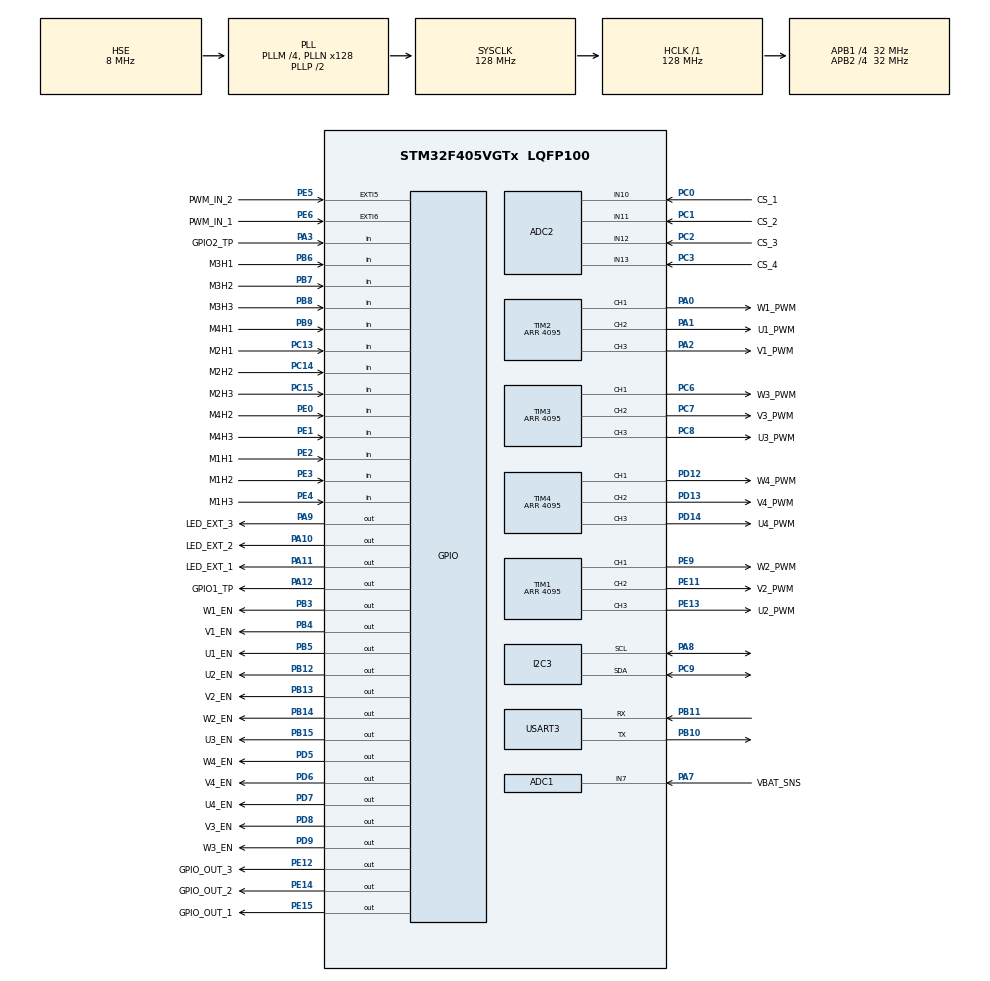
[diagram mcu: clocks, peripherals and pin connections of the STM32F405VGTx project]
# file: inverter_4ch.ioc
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ADC1.Channel-5\#ChannelRegularConversion=ADC_CHANNEL_7
ADC1.Channel-6\#ChannelRegularConversion=ADC_CHANNEL_TEMPSENSOR
ADC1.ClockPrescaler=ADC_CLOCK_SYNC_PCLK_DIV4
ADC1.ContinuousConvMode=ENABLE
ADC1.DMAContinuousRequests=ENABLE
ADC1.EOCSelection=ADC_EOC_SEQ_CONV
ADC1.NbrOfConversion=2
ADC1.NbrOfConversionFlag=1
ADC1.Rank-5\#ChannelRegularConversion=1
ADC1.Rank-6\#ChannelRegularConversion=2
ADC1.SamplingTime-5\#ChannelRegularConversion=ADC_SAMPLETIME_480CYCLES
ADC1.SamplingTime-6\#ChannelRegularConversion=ADC_SAMPLETIME_480CYCLES
ADC1.master=1
ADC2.Channel-0\#ChannelRegularConversion=ADC_CHANNEL_10
ADC2.Channel-1\#ChannelRegularConversion=ADC_CHANNEL_11
ADC2.Channel-2\#ChannelRegularConversion=ADC_CHANNEL_12
ADC2.Channel-3\#ChannelRegularConversion=ADC_CHANNEL_13
ADC2.ClockPrescaler=ADC_CLOCK_SYNC_PCLK_DIV4
ADC2.ContinuousConvMode=ENABLE
ADC2.DMAContinuousRequests=ENABLE
ADC2.EOCSelection=ADC_EOC_SEQ_CONV
ADC2.NbrOfConversion=4
ADC2.NbrOfConversionFlag=1
ADC2.Rank-0\#ChannelRegularConversion=1
ADC2.Rank-1\#ChannelRegularConversion=2
ADC2.Rank-2\#ChannelRegularConversion=3
ADC2.Rank-3\#ChannelRegularConversion=4
ADC2.SamplingTime-0\#ChannelRegularConversion=ADC_SAMPLETIME_144CYCLES
ADC2.SamplingTime-1\#ChannelRegularConversion=ADC_SAMPLETIME_144CYCLES
ADC2.SamplingTime-2\#ChannelRegularConversion=ADC_SAMPLETIME_144CYCLES
ADC2.SamplingTime-3\#ChannelRegularConversion=ADC_SAMPLETIME_144CYCLES
Dma.ADC1.0.Direction=DMA_PERIPH_TO_MEMORY
Dma.ADC1.0.FIFOMode=DMA_FIFOMODE_DISABLE
Dma.ADC1.0.Instance=DMA2_Stream0
Dma.ADC1.0.MemDataAlignment=DMA_MDATAALIGN_WORD
Dma.ADC1.0.MemInc=DMA_MINC_ENABLE
Dma.ADC1.0.Mode=DMA_CIRCULAR
Dma.ADC1.0.PeriphDataAlignment=DMA_PDATAALIGN_WORD
Dma.ADC1.0.PeriphInc=DMA_PINC_DISABLE
Dma.ADC1.0.Priority=DMA_PRIORITY_LOW
Dma.ADC2.3.Direction=DMA_PERIPH_TO_MEMORY
Dma.ADC2.3.FIFOMode=DMA_FIFOMODE_DISABLE
Dma.ADC2.3.Instance=DMA2_Stream2
Dma.ADC2.3.MemDataAlignment=DMA_MDATAALIGN_WORD
Dma.ADC2.3.MemInc=DMA_MINC_ENABLE
Dma.ADC2.3.Mode=DMA_CIRCULAR
Dma.ADC2.3.PeriphDataAlignment=DMA_PDATAALIGN_WORD
Dma.ADC2.3.PeriphInc=DMA_PINC_DISABLE
Dma.ADC2.3.Priority=DMA_PRIORITY_VERY_HIGH
Dma.Request0=ADC1
Dma.Request1=USART3_RX
Dma.Request2=USART3_TX
Dma.Request3=ADC2
Dma.USART3_RX.1.Direction=DMA_PERIPH_TO_MEMORY
Dma.USART3_RX.1.FIFOMode=DMA_FIFOMODE_DISABLE
Dma.USART3_RX.1.Instance=DMA1_Stream1
Dma.USART3_RX.1.MemDataAlignment=DMA_MDATAALIGN_BYTE
Dma.USART3_RX.1.MemInc=DMA_MINC_ENABLE
Dma.USART3_RX.1.Mode=DMA_NORMAL
Dma.USART3_RX.1.PeriphDataAlignment=DMA_PDATAALIGN_BYTE
Dma.USART3_RX.1.PeriphInc=DMA_PINC_DISABLE
Dma.USART3_RX.1.Priority=DMA_PRIORITY_LOW
Dma.USART3_TX.2.Direction=DMA_MEMORY_TO_PERIPH
Dma.USART3_TX.2.FIFOMode=DMA_FIFOMODE_DISABLE
Dma.USART3_TX.2.Instance=DMA1_Stream3
Dma.USART3_TX.2.MemDataAlignment=DMA_MDATAALIGN_BYTE
Dma.USART3_TX.2.MemInc=DMA_MINC_ENABLE
Dma.USART3_TX.2.Mode=DMA_NORMAL
Dma.USART3_TX.2.PeriphDataAlignment=DMA_PDATAALIGN_BYTE
Dma.USART3_TX.2.PeriphInc=DMA_PINC_DISABLE
Dma.USART3_TX.2.Priority=DMA_PRIORITY_LOW
Mcu.Family=STM32F4
Mcu.Name=STM32F405VGTx
Mcu.Package=LQFP100
NVIC.DMA1_Stream1_IRQn=true\:2\:0\:true\:false\:true\:false\:true
NVIC.DMA1_Stream3_IRQn=true\:2\:0\:true\:false\:true\:false\:true
NVIC.DMA2_Stream0_IRQn=true\:2\:0\:true\:false\:true\:false\:true
NVIC.DMA2_Stream2_IRQn=true\:0\:0\:false\:false\:true\:false\:true
NVIC.EXTI9_5_IRQn=true\:1\:0\:true\:false\:true\:true\:true
NVIC.PriorityGroup=NVIC_PRIORITYGROUP_4
NVIC.TIM8_TRG_COM_TIM14_IRQn=true\:2\:0\:true\:false\:true\:true\:true
NVIC.TIM8_UP_TIM13_IRQn=true\:2\:0\:true\:false\:true\:true\:true
NVIC.USART3_IRQn=true\:2\:0\:true\:false\:true\:true\:true
PA0-WKUP.GPIO_Label=W1_PWM
PA0-WKUP.Signal=S_TIM2_CH1_ETR
PA1.GPIO_Label=U1_PWM
PA1.Signal=S_TIM2_CH2
PA10.GPIO_Label=LED_EXT_2
PA10.Signal=GPIO_Output
PA11.GPIO_Label=LED_EXT_1
PA11.Signal=GPIO_Output
PA12.GPIO_Label=GPIO1_TP
PA12.GPIO_Speed=GPIO_SPEED_FREQ_VERY_HIGH
PA12.Signal=GPIO_Output
PA13.Mode=Serial_Wire
PA13.Signal=SYS_JTMS-SWDIO
PA14.Mode=Serial_Wire
PA14.Signal=SYS_JTCK-SWCLK
PA2.GPIO_Label=V1_PWM
PA2.Signal=S_TIM2_CH3
PA3.GPIO_Label=GPIO2_TP
PA3.Signal=GPIO_Input
PA7.GPIO_Label=VBAT_SNS
PA7.Signal=ADCx_IN7
PA8.Mode=I2C
PA8.Signal=I2C3_SCL
PA9.GPIO_Label=LED_EXT_3
PA9.Signal=GPIO_Output
PB10.Mode=Asynchronous
PB10.Signal=USART3_TX
PB11.Mode=Asynchronous
PB11.Signal=USART3_RX
PB12.GPIO_Label=U2_EN
PB12.GPIO_Speed=GPIO_SPEED_FREQ_VERY_HIGH
PB12.Signal=GPIO_Output
PB13.GPIO_Label=V2_EN
PB13.GPIO_Speed=GPIO_SPEED_FREQ_VERY_HIGH
PB13.Signal=GPIO_Output
PB14.GPIO_Label=W2_EN
PB14.GPIO_Speed=GPIO_SPEED_FREQ_VERY_HIGH
PB14.Signal=GPIO_Output
PB15.GPIO_Label=U3_EN
PB15.GPIO_Speed=GPIO_SPEED_FREQ_VERY_HIGH
PB15.Signal=GPIO_Output
PB3.GPIO_Label=W1_EN
PB3.GPIO_Speed=GPIO_SPEED_FREQ_VERY_HIGH
PB3.Signal=GPIO_Output
PB4.GPIO_Label=V1_EN
PB4.GPIO_Speed=GPIO_SPEED_FREQ_VERY_HIGH
PB4.Signal=GPIO_Output
PB5.GPIO_Label=U1_EN
PB5.GPIO_Speed=GPIO_SPEED_FREQ_VERY_HIGH
PB5.Signal=GPIO_Output
PB6.GPIO_Label=M3H1
PB6.GPIO_PuPd=GPIO_PULLUP
PB6.Signal=GPIO_Input
PB7.GPIO_Label=M3H2
PB7.GPIO_PuPd=GPIO_PULLUP
PB7.Signal=GPIO_Input
PB8.GPIO_Label=M3H3
PB8.GPIO_PuPd=GPIO_PULLUP
PB8.Signal=GPIO_Input
PB9.GPIO_Label=M4H1
PB9.GPIO_PuPd=GPIO_PULLUP
PB9.Signal=GPIO_Input
PC0.GPIO_Label=CS_1
PC0.Signal=ADCx_IN10
PC1.GPIO_Label=CS_2
PC1.Signal=ADCx_IN11
PC13-ANTI_TAMP.GPIO_Label=M2H1
PC13-ANTI_TAMP.GPIO_PuPd=GPIO_PULLUP
PC13-ANTI_TAMP.Signal=GPIO_Input
PC14-OSC32_IN.GPIO_Label=M2H2
PC14-OSC32_IN.GPIO_PuPd=GPIO_PULLUP
PC14-OSC32_IN.Signal=GPIO_Input
PC15-OSC32_OUT.GPIO_Label=M2H3
PC15-OSC32_OUT.GPIO_PuPd=GPIO_PULLUP
PC15-OSC32_OUT.Signal=GPIO_Input
PC2.GPIO_Label=CS_3
PC2.Signal=ADCx_IN12
PC3.GPIO_Label=CS_4
PC3.Signal=ADCx_IN13
PC6.GPIO_Label=W3_PWM
PC6.Signal=S_TIM3_CH1
PC7.GPIO_Label=V3_PWM
PC7.Signal=S_TIM3_CH2
PC8.GPIO_Label=U3_PWM
PC8.Signal=S_TIM3_CH3
PC9.Mode=I2C
PC9.Signal=I2C3_SDA
PD12.GPIO_Label=W4_PWM
PD12.Signal=S_TIM4_CH1
PD13.GPIO_Label=V4_PWM
PD13.Signal=S_TIM4_CH2
PD14.GPIO_Label=U4_PWM
PD14.Signal=S_TIM4_CH3
PD5.GPIO_Label=W4_EN
PD5.GPIO_Speed=GPIO_SPEED_FREQ_VERY_HIGH
PD5.Signal=GPIO_Output
PD6.GPIO_Label=V4_EN
PD6.GPIO_Speed=GPIO_SPEED_FREQ_VERY_HIGH
PD6.Signal=GPIO_Output
PD7.GPIO_Label=U4_EN
PD7.GPIO_Speed=GPIO_SPEED_FREQ_VERY_HIGH
PD7.Signal=GPIO_Output
PD8.GPIO_Label=V3_EN
PD8.GPIO_Speed=GPIO_SPEED_FREQ_VERY_HIGH
PD8.Signal=GPIO_Output
PD9.GPIO_Label=W3_EN
PD9.GPIO_Speed=GPIO_SPEED_FREQ_VERY_HIGH
PD9.Signal=GPIO_Output
PE0.GPIO_Label=M4H2
PE0.GPIO_PuPd=GPIO_PULLUP
PE0.Signal=GPIO_Input
PE1.GPIO_Label=M4H3
PE1.GPIO_PuPd=GPIO_PULLUP
PE1.Signal=GPIO_Input
PE11.GPIO_Label=V2_PWM
PE11.Signal=S_TIM1_CH2
PE12.GPIO_Label=GPIO_OUT_3
PE12.Signal=GPIO_Output
PE13.GPIO_Label=U2_PWM
PE13.Signal=S_TIM1_CH3
PE14.GPIO_Label=GPIO_OUT_2
PE14.Signal=GPIO_Output
PE15.GPIO_Label=GPIO_OUT_1
PE15.Signal=GPIO_Output
PE2.GPIO_Label=M1H1
PE2.GPIO_PuPd=GPIO_PULLUP
PE2.Signal=GPIO_Input
PE3.GPIO_Label=M1H2
PE3.GPIO_PuPd=GPIO_PULLUP
PE3.Signal=GPIO_Input
PE4.GPIO_Label=M1H3
PE4.GPIO_PuPd=GPIO_PULLUP
PE4.Signal=GPIO_Input
PE5.GPIO_Label=PWM_IN_2
PE5.GPIO_ModeDefaultEXTI=GPIO_MODE_IT_RISING_FALLING
PE5.GPIO_PuPd=GPIO_PULLDOWN
PE5.Signal=GPXTI5
PE6.GPIO_Label=PWM_IN_1
PE6.GPIO_ModeDefaultEXTI=GPIO_MODE_IT_RISING_FALLING
PE6.GPIO_PuPd=GPIO_PULLDOWN
PE6.Signal=GPXTI6
PE9.GPIO_Label=W2_PWM
PE9.Signal=S_TIM1_CH1
PH0-OSC_IN.Mode=HSE-External-Oscillator
PH0-OSC_IN.Signal=RCC_OSC_IN
PH1-OSC_OUT.Mode=HSE-External-Oscillator
PH1-OSC_OUT.Signal=RCC_OSC_OUT
ProjectManager.HeapSize=0x200
ProjectManager.StackSize=0x400
ProjectManager.TargetToolchain=SW4STM32
RCC.48MHZClocksFreq_Value=64000000
RCC.AHBFreq_Value=128000000
RCC.APB1CLKDivider=RCC_HCLK_DIV4
RCC.APB1Freq_Value=32000000
RCC.APB1TimFreq_Value=64000000
RCC.APB2CLKDivider=RCC_HCLK_DIV4
RCC.APB2Freq_Value=32000000
RCC.APB2TimFreq_Value=64000000
RCC.CortexFreq_Value=128000000
RCC.HCLKFreq_Value=128000000
RCC.HSE_VALUE=8000000
RCC.HSI_VALUE=16000000
RCC.LSE_VALUE=32768
RCC.PLLM=4
RCC.PLLN=128
RCC.PLLSourceVirtual=RCC_PLLSOURCE_HSE
RCC.SYSCLKFreq_VALUE=128000000
RCC.SYSCLKSource=RCC_SYSCLKSOURCE_PLLCLK
RCC.VCOOutputFreq_Value=256000000
SH.ADCx_IN10.0=ADC1_IN10
SH.ADCx_IN10.1=ADC2_IN10,IN10
SH.ADCx_IN11.0=ADC1_IN11
SH.ADCx_IN11.1=ADC2_IN11,IN11
SH.ADCx_IN12.0=ADC1_IN12
SH.ADCx_IN12.1=ADC2_IN12,IN12
SH.ADCx_IN13.0=ADC1_IN13
SH.ADCx_IN13.1=ADC2_IN13,IN13
SH.ADCx_IN7.0=ADC1_IN7,IN7
SH.S_TIM1_CH1.0=TIM1_CH1,PWM Generation1 CH1
SH.S_TIM1_CH2.0=TIM1_CH2,PWM Generation2 CH2
SH.S_TIM1_CH3.0=TIM1_CH3,PWM Generation3 CH3
SH.S_TIM2_CH1_ETR.0=TIM2_CH1,PWM Generation1 CH1
SH.S_TIM2_CH2.0=TIM2_CH2,PWM Generation2 CH2
SH.S_TIM2_CH3.0=TIM2_CH3,PWM Generation3 CH3
SH.S_TIM3_CH1.0=TIM3_CH1,PWM Generation1 CH1
SH.S_TIM3_CH2.0=TIM3_CH2,PWM Generation2 CH2
SH.S_TIM3_CH3.0=TIM3_CH3,PWM Generation3 CH3
SH.S_TIM4_CH1.0=TIM4_CH1,PWM Generation1 CH1
SH.S_TIM4_CH2.0=TIM4_CH2,PWM Generation2 CH2
SH.S_TIM4_CH3.0=TIM4_CH3,PWM Generation3 CH3
TIM1.Channel-PWM\ Generation1\ CH1=TIM_CHANNEL_1
TIM1.Channel-PWM\ Generation2\ CH2=TIM_CHANNEL_2
TIM1.Channel-PWM\ Generation3\ CH3=TIM_CHANNEL_3
TIM1.Period=4095
TIM13.Period=65535
TIM13.Prescaler=63
TIM14.Period=6400
TIM14.Prescaler=0
TIM2.Channel-PWM\ Generation1\ CH1=TIM_CHANNEL_1
TIM2.Channel-PWM\ Generation2\ CH2=TIM_CHANNEL_2
TIM2.Channel-PWM\ Generation3\ CH3=TIM_CHANNEL_3
TIM2.Period=4095
TIM3.Channel-PWM\ Generation1\ CH1=TIM_CHANNEL_1
TIM3.Channel-PWM\ Generation2\ CH2=TIM_CHANNEL_2
TIM3.Channel-PWM\ Generation3\ CH3=TIM_CHANNEL_3
TIM3.Period=4095
TIM4.Channel-PWM\ Generation1\ CH1=TIM_CHANNEL_1
TIM4.Channel-PWM\ Generation2\ CH2=TIM_CHANNEL_2
TIM4.Channel-PWM\ Generation3\ CH3=TIM_CHANNEL_3
TIM4.Period=4095
USART3.VirtualMode=VM_ASYNC
VP_ADC1_TempSens_Input.Mode=IN-TempSens
VP_TIM13_VS_ClockSourceINT.Mode=Enable_Timer
VP_TIM14_VS_ClockSourceINT.Mode=Enable_Timer
board=custom

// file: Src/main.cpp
/* USER CODE BEGIN Header */
/**
  ******************************************************************************
  * @file           : main.c
  * @brief          : Main program body
  ******************************************************************************
  * @attention
  *
  * <h2><center>&copy; Copyright (c) 2020 STMicroelectronics.
  * All rights reserved.</center></h2>
  *
  * This software component is licensed by ST under BSD 3-Clause license,
  * the "License"; You may not use this file except in compliance with the
  * License. You may obtain a copy of the License at:
  *                        opensource.org/licenses/BSD-3-Clause
  *
  ******************************************************************************
  */
/* USER CODE END Header */

#include "main.h"
#include "adc.h"
#include "dma.h"
#include "i2c.h"
#include "tim.h"
#include "usart.h"
#include "gpio.h"

/* USER CODE BEGIN Includes */
#include "Inverter.h"
#include "Serial.h"
#include <stdarg.h>
#include <stdio.h>
#include <math.h>
#include <string.h>

#include "input_PWM.h"

#include "simple_serial_arduino/src/SimpleSerial.h"
#include "simple_serial_arduino/src/transmission_test.h"

/* USER CODE END Includes */

/* USER CODE BEGIN PV */
SimpleSerial sser(&serial_01, 40, 8);
enum class SS_ID : uint8_t {
    STATUS = 10,
    MOTOR_PWR = 20,
    MOVE = 22,
    MOVE_TANK = 23
};
uint32_t status_send_interval = 500; // ms
uint32_t last_status_send = 0;
uint32_t move_rec_interval = 1000; // ms
uint32_t last_move_rec = 0;

enum class ControlMode : uint8_t {rc, serial};
ControlMode control_mode = ControlMode::serial;

/* USER CODE END PV */

void SystemClock_Config(void);

/* USER CODE BEGIN 0 */
void debug_print(const char *format, ...){
  return;
  char formatedString[128] = {0};
  va_list arglist;
  va_start(arglist, format);
  int len = vsnprintf(formatedString, sizeof(formatedString), format, arglist);
  uint16_t n = 0;
  //comment out this block if carriage return not needed (change serial_01.write len!!!)
  while(formatedString[n] != 0) n++;
  formatedString[n] = 0xD;
  //####
  va_end(arglist);
  while(serial_01.txOngoing);
  serial_01.write(reinterpret_cast<uint8_t*>(formatedString), len+1);
}

/**
  * @brief This function handles TIM8 trigger and commutation interrupts and TIM14 global interrupt.
  */
void TIM8_TRG_COM_TIM14_IRQHandler(void){
  /* USER CODE BEGIN TIM8_TRG_COM_TIM14_IRQn 0 */
  inverter.interrupt_handler();
  /* USER CODE END TIM8_TRG_COM_TIM14_IRQn 0 */
  HAL_TIM_IRQHandler(&htim14);
  /* USER CODE BEGIN TIM8_TRG_COM_TIM14_IRQn 1 */

  /* USER CODE END TIM8_TRG_COM_TIM14_IRQn 1 */
}

void diff_steer(float trans, float rot, float &left, float &right) {
  float sum = abs(trans) + abs(rot);
  float scale;
  if(sum > 1.) scale = 1. - (sum - 1.) / 2.;
  else scale = 1.;
  left = scale * (trans - rot);
  right = scale * (trans + rot);
}

void move(float trans, float rot) {
    float left;
    float right;
    diff_steer(trans, rot, left, right);
    inverter.set_motor_float(CH1, left);
    inverter.set_motor_float(CH2, left);
    inverter.set_motor_float(CH3, -right);
    inverter.set_motor_float(CH4, -right);
}

void move_tank(float left, float right) {
    inverter.set_motor_float(CH1, left);
    inverter.set_motor_float(CH2, left);
    inverter.set_motor_float(CH3, -right);
    inverter.set_motor_float(CH4, -right);
}

/* USER CODE END 0 */

int main(void)
{

  /* MCU Configuration--------------------------------------------------------*/

  /* Reset of all peripherals, Initializes the Flash interface and the Systick. */
  HAL_Init();

  /* Configure the system clock */
  SystemClock_Config();

  /* Initialize all configured peripherals */
  MX_GPIO_Init();
  MX_DMA_Init();
  MX_TIM1_Init();
  MX_TIM2_Init();
  MX_TIM3_Init();
  MX_TIM4_Init();
  MX_ADC1_Init();
  MX_ADC2_Init();
  MX_I2C3_Init();
  MX_TIM14_Init();
  MX_USART3_UART_Init();
  MX_TIM13_Init();
  /* USER CODE BEGIN 2 */

  HAL_TIM_Base_Start_IT(&htim14); //start Inverter interrupt timer

  serial_01.begin();
  inverter.begin();
  input.begin();
  HAL_Delay(3500);
  HAL_GPIO_TogglePin(GPIO1_TP_GPIO_Port, GPIO1_TP_Pin);

  inverter.enable_motor(CH1);
  inverter.enable_motor(CH2);
  inverter.enable_motor(CH3);
  inverter.enable_motor(CH4);
  debug_print("motors active...\n");

  /* USER CODE END 2 */

  /* Infinite loop */
  /* USER CODE BEGIN WHILE */
  while (1) {

    if (control_mode == ControlMode::rc) {
        float thr = input.skidSteer_throttle();
        float str = input.skidSteer_steer();
        move(thr, str);
    }

//    int16_t thrli = thr_left*1000;
//    int16_t thrri = thr_right*1000;
//    debug_print("left: %d, right: %d\n", thrli, thrri);
//
//    debug_print("RPM_1: %d\n", inverter.motor_rpm(CH1));
//    debug_print("SPD_1: %d\n", (int32_t)(inverter.motor_vel(CH1)*10));
//
//    debug_print("batvolt: %d\n", inverter.battery_voltage());
//
//    debug_print("mcu temp: %d\n", (int32_t)inverter.MCU_temp());
//
//    battery current output on serial
//    debug_print("batt cur: %d\n", inverter.get_current(CH1)+inverter.get_current(CH2)+inverter.get_current(CH3)+inverter.get_current(CH4));
//
//    debug_print("rpm CH4: %d\n", inverter.motor_rpm(CH4));
//    debug_print("enc CH4: %d\n", inverter.encoder(CH4));
//
//
//    ####### slip control
//
//    CH1,CH3: front, CH2,CH4 back
//    float slipCtrlKp = 0.001;
//    float lf = thr_left;
//    float lb = thr_left;
//    float rf = thr_right;
//    float rb = thr_right;
//    int32_t dif_left = inverter.motor_rpm(CH1)-inverter.motor_rpm(CH2);
//    int32_t dif_right = inverter.motor_rpm(CH3)-inverter.motor_rpm(CH4);
//    if(abs(dif_left)>10){
//      if(dif_left > 0){ //CH1 faster
//        if(lf>0) lf  = thr_left - abs(dif_left)*slipCtrlKp;
//        else lf  = thr_left + abs(dif_left)*slipCtrlKp;
//
//      }
//      else{ //CH2 faster
//        if(lb>0) lb = thr_left - abs(dif_left)*slipCtrlKp;
//        else lb = thr_left + abs(dif_left)*slipCtrlKp;
//
//      }
//    }
//    if(abs(dif_right)>10){
//      if(dif_right > 0){ //CH1 faster
//        if(rf>0) rf  = thr_right - abs(dif_right)*slipCtrlKp;
//        else rf  = thr_right + abs(dif_right)*slipCtrlKp;
//
//      }
//      else{ //CH2 faster
//        if(rb>0) rb = thr_right - abs(dif_right)*slipCtrlKp;
//        else rb = thr_right + abs(dif_right)*slipCtrlKp;
//
//      }
//    }
//
//
//
//    inverter.set_motor_float(CH1, 0.1);
//    inverter.set_motor_float(CH2, 0.1);
//    inverter.set_motor_float(CH3, -0.1);
//    inverter.set_motor_float(CH4, -0.1);

    //uint32_t adcval = inverter.get_ADC_voltage(ADC_CONV_1, ADC_VBAT)*(float)ADC_VBAT_COEF;
    //debug_print("bat adc voltage: %d\n", adcval);

    //uint32_t csval = inverter.get_ADC_voltage(ADC_CONV_2, ADC_CS1);
    //debug_print("cs1 adc voltage: %d\n", csval);

//    HAL_Delay(20);

//    int16_t thrf = (float)thr*1000;
//    int16_t strf = (float)str*1000;
//    debug_print("thr: %d, str: %d\n", thrf, strf);

//    uint16_t val = 0;
//    val = input.get_pulse(PWM1);
//    bool pwm_det = input.pwm_recvd[PWM1];
//    bool flsf = input.is_failsafe(PWM1);
//    debug_print("PWM_1 input val: %d, is detected?: %d, flsf: %d\n", val, pwm_det, flsf);
//
//    val = input.get_pulse(PWM2);
//    pwm_det = input.pwm_recvd[PWM2];
//    flsf = input.is_failsafe(PWM2);
//    debug_print("PWM_2 input val: %d, is detected?: %d, flsf: %d\n\n", val, pwm_det, flsf);
//    HAL_Delay(50);

//    uint16_t t1 = __HAL_TIM_GET_COUNTER(&htim13);
//    HAL_Delay(40);
//    uint16_t t2 = __HAL_TIM_GET_COUNTER(&htim13);
//    uint16_t time = t2-t1;

//    uint8_t result[7] = {0};
//    debug_print("new test: ###\n");
//    Inverter.hall_auto_map(CH2, result);
//    debug_print("commutation array: [%d,%d,%d,%d,%d,%d,%d]\n", result[0],result[1],result[2],result[3],result[4],result[5],result[6]);
//    HAL_Delay(5000);

    // Simple serial command loop
    sser.loop();
    if (sser.available()) {
        SimpleSerial::Packet packet = sser.read();
        switch (static_cast<SS_ID >(packet.id)) {
            case SS_ID::MOTOR_PWR: {
                int16_t pwr = byte_conversion::bytes_2_int(packet.payload);
                if (pwr > 0) {
                    inverter.enable_motors();
                }
                else {
                    inverter.disable_motors();
                }}
                break;
            case SS_ID::MOVE: {
                float trans = byte_conversion::bytes_2_float(packet.payload);
                float rot = byte_conversion::bytes_2_float(packet.payload + 4);
                if (control_mode == ControlMode::serial) {
                    last_move_rec = HAL_GetTick();
                    move(trans, rot);
                }}
                break;
            case SS_ID::MOVE_TANK: {
                float left = byte_conversion::bytes_2_float(packet.payload);
                float right = byte_conversion::bytes_2_float(packet.payload + 4);
                if (control_mode == ControlMode::serial) {
                    last_move_rec = HAL_GetTick();
                    move_tank(left, right);
                }}
                break;
            default:
                break;
        }
    }

    // Check last received move time
    if (HAL_GetTick() - last_move_rec > move_rec_interval) {
        move(0, 0);
    }

    // Send status
    if (HAL_GetTick() - last_status_send > status_send_interval) {
        uint8_t payload[37];
        uint8_t bts[4];

        byte_conversion::float_2_bytes(inverter.motor_vel(CH1), bts);
        memcpy(payload, bts, 4);

        byte_conversion::float_2_bytes(inverter.motor_vel(CH2), bts);
        memcpy(payload+4, bts, 4);

        byte_conversion::float_2_bytes(inverter.motor_vel(CH3), bts);
        memcpy(payload+8, bts, 4);

        byte_conversion::float_2_bytes(inverter.motor_vel(CH4), bts);
        memcpy(payload+12, bts, 4);

        byte_conversion::float_2_bytes(inverter.get_current(CH1), bts);
        memcpy(payload+16, bts, 4);

        byte_conversion::float_2_bytes(inverter.get_current(CH2), bts);
        memcpy(payload+20, bts, 4);

        byte_conversion::float_2_bytes(inverter.get_current(CH3), bts);
        memcpy(payload+24, bts, 4);

        byte_conversion::float_2_bytes(inverter.get_current(CH4), bts);
        memcpy(payload+28, bts, 4);

        byte_conversion::float_2_bytes(inverter.battery_voltage(), bts);
        memcpy(payload+32, bts, 4);

        payload[36] = static_cast<uint8_t>(inverter.motors_enabled());

        sser.send(static_cast<uint8_t>(SS_ID::STATUS), 37, payload);
        last_status_send = HAL_GetTick();
    }

    /* USER CODE END WHILE */

  }
}

void SystemClock_Config(void)
{
  RCC_OscInitTypeDef RCC_OscInitStruct = {0};
  RCC_ClkInitTypeDef RCC_ClkInitStruct = {0};

  /** Configure the main internal regulator output voltage
  */
  __HAL_RCC_PWR_CLK_ENABLE();
  __HAL_PWR_VOLTAGESCALING_CONFIG(PWR_REGULATOR_VOLTAGE_SCALE1);
  /** Initializes the CPU, AHB and APB busses clocks
  */
  RCC_OscInitStruct.OscillatorType = RCC_OSCILLATORTYPE_HSE;
  RCC_OscInitStruct.HSEState = RCC_HSE_ON;
  RCC_OscInitStruct.PLL.PLLState = RCC_PLL_ON;
  RCC_OscInitStruct.PLL.PLLSource = RCC_PLLSOURCE_HSE;
  RCC_OscInitStruct.PLL.PLLM = 4;
  RCC_OscInitStruct.PLL.PLLN = 128;
  RCC_OscInitStruct.PLL.PLLP = RCC_PLLP_DIV2;
  RCC_OscInitStruct.PLL.PLLQ = 4;
  if (HAL_RCC_OscConfig(&RCC_OscInitStruct) != HAL_OK)
  {
    Error_Handler();
  }
  /** Initializes the CPU, AHB and APB busses clocks
  */
  RCC_ClkInitStruct.ClockType = RCC_CLOCKTYPE_HCLK|RCC_CLOCKTYPE_SYSCLK
                              |RCC_CLOCKTYPE_PCLK1|RCC_CLOCKTYPE_PCLK2;
  RCC_ClkInitStruct.SYSCLKSource = RCC_SYSCLKSOURCE_PLLCLK;
  RCC_ClkInitStruct.AHBCLKDivider = RCC_SYSCLK_DIV1;
  RCC_ClkInitStruct.APB1CLKDivider = RCC_HCLK_DIV4;
  RCC_ClkInitStruct.APB2CLKDivider = RCC_HCLK_DIV4;

  if (HAL_RCC_ClockConfig(&RCC_ClkInitStruct, FLASH_LATENCY_4) != HAL_OK)
  {
    Error_Handler();
  }
}

void Error_Handler(void)
{
}

/************************ (C) COPYRIGHT STMicroelectronics *****END OF FILE****/
